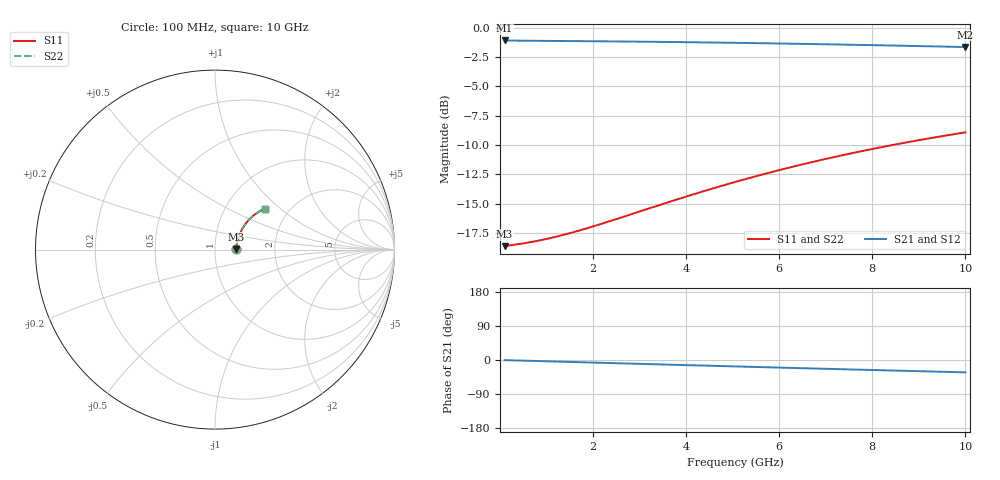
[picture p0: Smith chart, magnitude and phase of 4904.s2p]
# Hz S RI R 50.00
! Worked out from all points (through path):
!   100 points, 100 MHz to 10 GHz, reference 50 ohm
!   highest |S21| = -1.08 dB at 100 MHz (marker M1); lowest = -1.6 dB at 10 GHz (marker M2)
!   group delay of S21, straight-line fit = 9.07 ps
!   lowest |S11| = -18.6 dB at 100 MHz (marker M3), VSWR 1.27, Z = 63.3 + j0.395 ohm
!   |S11| at or under -10 dB: start of sweep to 8.425 GHz
!   |S22| runs from -18.6 to -8.9 dB; largest |S21 - S12| = 0
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1e8  0.1174 0.00308  0.8826 -0.00525  0.8826 -0.00525  0.1174 0.00308
6e8  0.1202 0.0183  0.8797 -0.0313  0.8797 -0.0313  0.1202 0.0183
9e8  0.1217 0.0274  0.878 -0.0469  0.878 -0.0469  0.1217 0.0274
1.1e9  0.1229 0.0334  0.8768 -0.0573  0.8768 -0.0573  0.1229 0.0334
1.3e9  0.1241 0.0394  0.8755 -0.0676  0.8755 -0.0676  0.1241 0.0394
1.5e9  0.1254 0.0453  0.874 -0.0779  0.874 -0.0779  0.1254 0.0453
1.8e9  0.1276 0.0542  0.8716 -0.0932  0.8716 -0.0932  0.1276 0.0542
2.4e9  0.1328 0.0716  0.8657 -0.1237  0.8657 -0.1237  0.1328 0.0716
2.9e9  0.138 0.0857  0.8599 -0.1487  0.8599 -0.1487  0.138 0.0857
3.4e9  0.1439 0.0995  0.8531 -0.1733  0.8531 -0.1733  0.1439 0.0995
4.3e9  0.1565 0.1231  0.8389 -0.2165  0.8389 -0.2165  0.1565 0.1231
4.7e9  0.1628 0.1331  0.8316 -0.2352  0.8316 -0.2352  0.1628 0.1331
5.1e9  0.1695 0.1428  0.8239 -0.2536  0.8239 -0.2536  0.1695 0.1428
5.5e9  0.1766 0.1521  0.8157 -0.2716  0.8157 -0.2716  0.1766 0.1521
5.9e9  0.1841 0.161  0.8071 -0.2893  0.8071 -0.2893  0.1841 0.161
6.3e9  0.192 0.1694  0.798 -0.3065  0.798 -0.3065  0.192 0.1694
6.7e9  0.2002 0.1775  0.7885 -0.3233  0.7885 -0.3233  0.2002 0.1775
7.5e9  0.2175 0.1924  0.7683 -0.3557  0.7683 -0.3557  0.2175 0.1924
7.9e9  0.2265 0.1992  0.7576 -0.3713  0.7576 -0.3713  0.2265 0.1992
8.4e9  0.2382 0.207  0.7439 -0.3901  0.7439 -0.3901  0.2382 0.207
9.2e9  0.2574 0.218  0.721 -0.4187  0.721 -0.4187  0.2574 0.218
1e10  0.2773 0.2271  0.6972 -0.4455  0.6972 -0.4455  0.2773 0.2271
